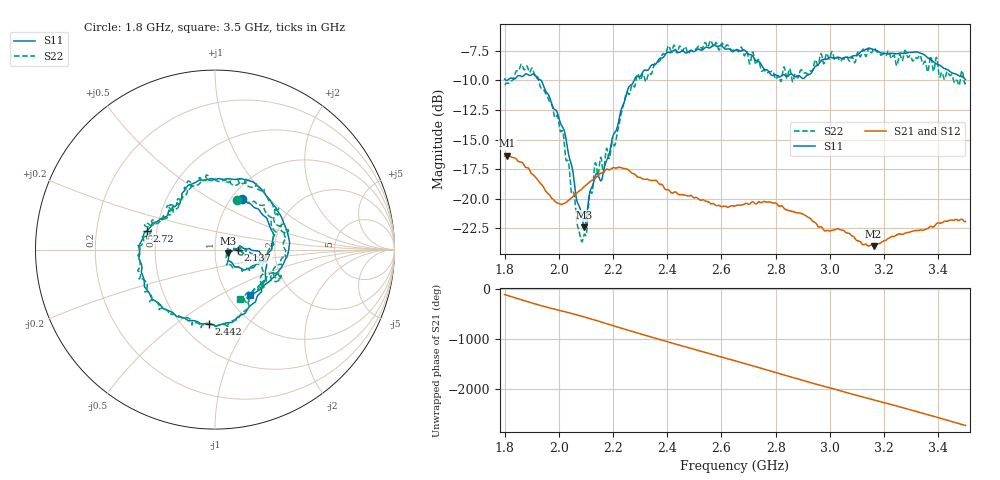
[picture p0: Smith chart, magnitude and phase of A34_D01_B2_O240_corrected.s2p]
! Created with skrf 1.9.0 (http://scikit-rf.org).
# Hz S RI R 50.0
!freq ReS11 ImS11 ReS21 ImS21 ReS12 ImS12 ReS22 ImS22
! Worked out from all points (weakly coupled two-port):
!   1601 points, 1.8 GHz to 3.5 GHz, reference 50 ohm
!   highest |S21| = -16.36 dB at 1.81 GHz (marker M1); lowest = -24.0 dB at 3.161 GHz (marker M2)
!   lowest |S11| = -22.4 dB at 2.094 GHz (marker M3), VSWR 1.16, Z = 57.8 - j2.52 ohm
!   |S11| at or under -10 dB: 1.805628 GHz to 1.810053 GHz (4.425 MHz wide, 0.245 % of centre); 1.934 GHz to 2.278 GHz (343.6 MHz wide, 16.3 % of centre)
!   |S22| runs from -23.6 to -6.6 dB; largest |S21 - S12| = 0.0029
!   S11 on the Smith chart (normalised r, x): 1.8 GHz: 1.12, +0.71; 2.137 GHz: 1.29, -0.01; 2.442 GHz: 0.67, -0.67; 2.72 GHz: 0.44, +0.11; 3.5 GHz: 1.26, -0.71
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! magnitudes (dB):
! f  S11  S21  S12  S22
! 1.8 GHz  -9.9  -16.4  -16.4  -10.4
! 1.81 GHz  -10.0  -16.4  -16.4  -10.2
! 1.859 GHz  -9.6  -16.9  -17.0  -8.7
! 1.9 GHz  -9.5  -17.9  -17.8  -9.0
! 1.968 GHz  -11.6  -19.8  -19.8  -11.9
! 2.014 GHz  -13.9  -20.5  -20.5  -14.3
! 2.084 GHz  -21.3  -19.2  -19.2  -23.6
! 2.094 GHz  -22.4  -19.0  -19.0  -23.0
! 2.137 GHz  -17.9  -18.2  -18.2  -17.0
! 2.16 GHz  -18.2  -17.8  -17.7  -17.2
! 2.209 GHz  -14.3  -17.4  -17.4  -15.3
! 2.259 GHz  -10.5  -17.6  -17.6  -11.2
! 2.367 GHz  -8.3  -18.7  -18.6  -8.4
! 2.442 GHz  -7.6  -19.6  -19.7  -7.3
! 2.65 GHz  -7.5  -20.6  -20.6  -7.3
! 2.72 GHz  -8.1  -20.3  -20.3  -8.0
! 2.813 GHz  -9.7  -20.6  -20.5  -9.7
! 2.934 GHz  -9.3  -21.8  -21.8  -9.2
! 3.161 GHz  -7.4  -24.0  -23.9  -7.3
! 3.217 GHz  -7.8  -23.3  -23.3  -7.5
! 3.328 GHz  -7.7  -22.7  -22.7  -8.0
! 3.5 GHz  -9.9  -21.9  -21.9  -10.2
